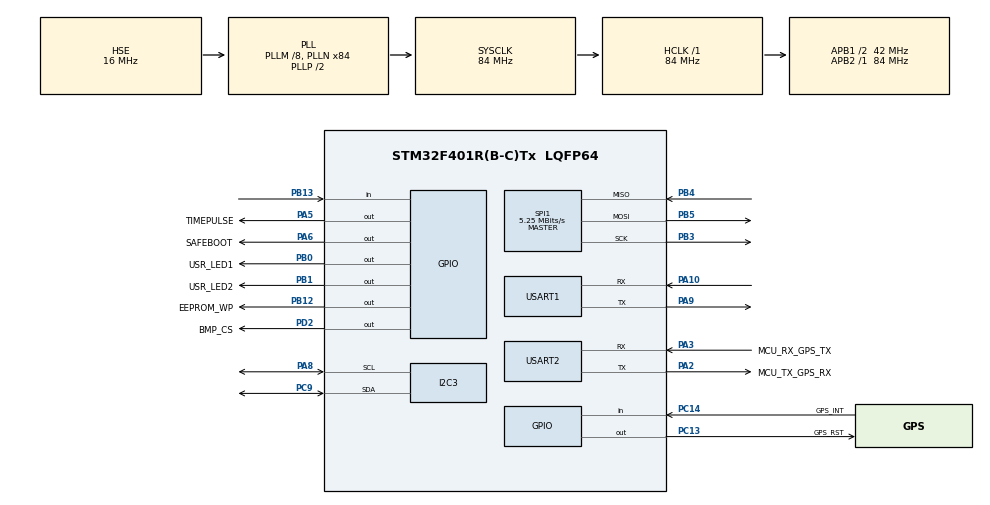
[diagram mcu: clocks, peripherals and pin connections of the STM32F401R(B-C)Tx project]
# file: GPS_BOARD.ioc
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Dma.I2C3_RX.2.Direction=DMA_PERIPH_TO_MEMORY
Dma.I2C3_RX.2.FIFOMode=DMA_FIFOMODE_DISABLE
Dma.I2C3_RX.2.Instance=DMA1_Stream1
Dma.I2C3_RX.2.MemDataAlignment=DMA_MDATAALIGN_BYTE
Dma.I2C3_RX.2.MemInc=DMA_MINC_ENABLE
Dma.I2C3_RX.2.Mode=DMA_NORMAL
Dma.I2C3_RX.2.PeriphDataAlignment=DMA_PDATAALIGN_BYTE
Dma.I2C3_RX.2.PeriphInc=DMA_PINC_DISABLE
Dma.I2C3_RX.2.Priority=DMA_PRIORITY_LOW
Dma.I2C3_TX.3.Direction=DMA_MEMORY_TO_PERIPH
Dma.I2C3_TX.3.FIFOMode=DMA_FIFOMODE_DISABLE
Dma.I2C3_TX.3.Instance=DMA1_Stream4
Dma.I2C3_TX.3.MemDataAlignment=DMA_MDATAALIGN_BYTE
Dma.I2C3_TX.3.MemInc=DMA_MINC_ENABLE
Dma.I2C3_TX.3.Mode=DMA_NORMAL
Dma.I2C3_TX.3.PeriphDataAlignment=DMA_PDATAALIGN_BYTE
Dma.I2C3_TX.3.PeriphInc=DMA_PINC_DISABLE
Dma.I2C3_TX.3.Priority=DMA_PRIORITY_LOW
Dma.MEMTOMEM.7.Direction=DMA_MEMORY_TO_MEMORY
Dma.MEMTOMEM.7.FIFOMode=DMA_FIFOMODE_ENABLE
Dma.MEMTOMEM.7.FIFOThreshold=DMA_FIFO_THRESHOLD_FULL
Dma.MEMTOMEM.7.Instance=DMA2_Stream1
Dma.MEMTOMEM.7.MemBurst=DMA_MBURST_SINGLE
Dma.MEMTOMEM.7.MemDataAlignment=DMA_MDATAALIGN_BYTE
Dma.MEMTOMEM.7.MemInc=DMA_MINC_ENABLE
Dma.MEMTOMEM.7.Mode=DMA_NORMAL
Dma.MEMTOMEM.7.PeriphBurst=DMA_PBURST_SINGLE
Dma.MEMTOMEM.7.PeriphDataAlignment=DMA_PDATAALIGN_BYTE
Dma.MEMTOMEM.7.PeriphInc=DMA_PINC_ENABLE
Dma.MEMTOMEM.7.Priority=DMA_PRIORITY_LOW
Dma.Request0=USART2_RX
Dma.Request1=USART2_TX
Dma.Request2=I2C3_RX
Dma.Request3=I2C3_TX
Dma.Request4=USART1_TX
Dma.Request5=SPI1_RX
Dma.Request6=SPI1_TX
Dma.Request7=MEMTOMEM
Dma.SPI1_RX.5.Direction=DMA_PERIPH_TO_MEMORY
Dma.SPI1_RX.5.FIFOMode=DMA_FIFOMODE_DISABLE
Dma.SPI1_RX.5.Instance=DMA2_Stream0
Dma.SPI1_RX.5.MemDataAlignment=DMA_MDATAALIGN_BYTE
Dma.SPI1_RX.5.MemInc=DMA_MINC_ENABLE
Dma.SPI1_RX.5.Mode=DMA_NORMAL
Dma.SPI1_RX.5.PeriphDataAlignment=DMA_PDATAALIGN_BYTE
Dma.SPI1_RX.5.PeriphInc=DMA_PINC_DISABLE
Dma.SPI1_RX.5.Priority=DMA_PRIORITY_LOW
Dma.SPI1_TX.6.Direction=DMA_MEMORY_TO_PERIPH
Dma.SPI1_TX.6.FIFOMode=DMA_FIFOMODE_DISABLE
Dma.SPI1_TX.6.Instance=DMA2_Stream3
Dma.SPI1_TX.6.MemDataAlignment=DMA_MDATAALIGN_BYTE
Dma.SPI1_TX.6.MemInc=DMA_MINC_ENABLE
Dma.SPI1_TX.6.Mode=DMA_NORMAL
Dma.SPI1_TX.6.PeriphDataAlignment=DMA_PDATAALIGN_BYTE
Dma.SPI1_TX.6.PeriphInc=DMA_PINC_DISABLE
Dma.SPI1_TX.6.Priority=DMA_PRIORITY_LOW
Dma.USART1_TX.4.Direction=DMA_MEMORY_TO_PERIPH
Dma.USART1_TX.4.FIFOMode=DMA_FIFOMODE_DISABLE
Dma.USART1_TX.4.Instance=DMA2_Stream7
Dma.USART1_TX.4.MemDataAlignment=DMA_MDATAALIGN_BYTE
Dma.USART1_TX.4.MemInc=DMA_MINC_ENABLE
Dma.USART1_TX.4.Mode=DMA_NORMAL
Dma.USART1_TX.4.PeriphDataAlignment=DMA_PDATAALIGN_BYTE
Dma.USART1_TX.4.PeriphInc=DMA_PINC_DISABLE
Dma.USART1_TX.4.Priority=DMA_PRIORITY_LOW
Dma.USART2_RX.0.Direction=DMA_PERIPH_TO_MEMORY
Dma.USART2_RX.0.FIFOMode=DMA_FIFOMODE_DISABLE
Dma.USART2_RX.0.Instance=DMA1_Stream5
Dma.USART2_RX.0.MemDataAlignment=DMA_MDATAALIGN_BYTE
Dma.USART2_RX.0.MemInc=DMA_MINC_ENABLE
Dma.USART2_RX.0.Mode=DMA_NORMAL
Dma.USART2_RX.0.PeriphDataAlignment=DMA_PDATAALIGN_BYTE
Dma.USART2_RX.0.PeriphInc=DMA_PINC_DISABLE
Dma.USART2_RX.0.Priority=DMA_PRIORITY_LOW
Dma.USART2_TX.1.Direction=DMA_MEMORY_TO_PERIPH
Dma.USART2_TX.1.FIFOMode=DMA_FIFOMODE_DISABLE
Dma.USART2_TX.1.Instance=DMA1_Stream6
Dma.USART2_TX.1.MemDataAlignment=DMA_MDATAALIGN_BYTE
Dma.USART2_TX.1.MemInc=DMA_MINC_ENABLE
Dma.USART2_TX.1.Mode=DMA_NORMAL
Dma.USART2_TX.1.PeriphDataAlignment=DMA_PDATAALIGN_BYTE
Dma.USART2_TX.1.PeriphInc=DMA_PINC_DISABLE
Dma.USART2_TX.1.Priority=DMA_PRIORITY_LOW
FREERTOS.Tasks01=defaultTask,0,128,StartDefaultTask,Default,NULL,Dynamic,NULL,NULL
I2C3.I2C_Mode=I2C_Fast
Mcu.Family=STM32F4
Mcu.Name=STM32F401R(B-C)Tx
Mcu.Package=LQFP64
NVIC.DMA1_Stream1_IRQn=true\:5\:0\:false\:false\:true\:true\:false\:true\:true
NVIC.DMA1_Stream4_IRQn=true\:5\:0\:false\:false\:true\:true\:false\:true\:true
NVIC.DMA1_Stream5_IRQn=true\:5\:0\:false\:false\:true\:true\:false\:true\:true
NVIC.DMA1_Stream6_IRQn=true\:5\:0\:false\:false\:true\:true\:false\:true\:true
NVIC.DMA2_Stream0_IRQn=true\:5\:0\:false\:false\:true\:true\:false\:true\:true
NVIC.DMA2_Stream3_IRQn=true\:5\:0\:false\:false\:true\:true\:false\:true\:true
NVIC.DMA2_Stream7_IRQn=true\:5\:0\:false\:false\:true\:true\:false\:true\:true
NVIC.PriorityGroup=NVIC_PRIORITYGROUP_4
NVIC.TIM4_IRQn=true\:15\:0\:false\:false\:true\:false\:false\:true\:true
NVIC.TimeBase=TIM4_IRQn
NVIC.TimeBaseIP=TIM4
NVIC.USART1_IRQn=true\:5\:0\:false\:false\:true\:true\:true\:true\:true
PA10.Mode=Asynchronous
PA10.Signal=USART1_RX
PA13.Mode=Serial_Wire
PA13.Signal=SYS_JTMS-SWDIO
PA14.Mode=Serial_Wire
PA14.Signal=SYS_JTCK-SWCLK
PA2.GPIO_Label=MCU_TX_GPS_RX
PA2.Mode=Asynchronous
PA2.Signal=USART2_TX
PA3.GPIO_Label=MCU_RX_GPS_TX
PA3.Mode=Asynchronous
PA3.Signal=USART2_RX
PA5.GPIO_Label=TIMEPULSE
PA5.Signal=GPIO_Output
PA6.GPIO_Label=SAFEBOOT
PA6.Signal=GPIO_Output
PA8.GPIO_Pu=GPIO_PULLUP
PA8.Mode=I2C
PA8.Signal=I2C3_SCL
PA9.Mode=Asynchronous
PA9.Signal=USART1_TX
PB0.GPIO_Label=USR_LED1
PB0.Signal=GPIO_Output
PB1.GPIO_Label=USR_LED2
PB1.Signal=GPIO_Output
PB12.GPIO_Label=EEPROM_WP
PB12.Signal=GPIO_Output
PB13.Signal=GPIO_Input
PB3.Mode=Full_Duplex_Master
PB3.Signal=SPI1_SCK
PB4.Mode=Full_Duplex_Master
PB4.Signal=SPI1_MISO
PB5.Mode=Full_Duplex_Master
PB5.Signal=SPI1_MOSI
PC13-ANTI_TAMP.GPIO_Label=GPS_RST
PC13-ANTI_TAMP.PinState=GPIO_PIN_SET
PC13-ANTI_TAMP.Signal=GPIO_Output
PC14-OSC32_IN.GPIO_Label=GPS_INT
PC14-OSC32_IN.Signal=GPIO_Input
PC9.GPIO_Pu=GPIO_PULLUP
PC9.Mode=I2C
PC9.Signal=I2C3_SDA
PD2.GPIO_Label=BMP_CS
PD2.PinState=GPIO_PIN_SET
PD2.Signal=GPIO_Output
PH0\ -\ OSC_IN.Mode=HSE-External-Oscillator
PH0\ -\ OSC_IN.Signal=RCC_OSC_IN
PH1\ -\ OSC_OUT.Mode=HSE-External-Oscillator
PH1\ -\ OSC_OUT.Signal=RCC_OSC_OUT
ProjectManager.HeapSize=0x200
ProjectManager.StackSize=0x400
ProjectManager.TargetToolchain=Makefile
RCC.48MHZClocksFreq_Value=42000000
RCC.AHBFreq_Value=84000000
RCC.APB1CLKDivider=RCC_HCLK_DIV2
RCC.APB1Freq_Value=42000000
RCC.APB1TimFreq_Value=84000000
RCC.APB2Freq_Value=84000000
RCC.APB2TimFreq_Value=84000000
RCC.CortexFreq_Value=84000000
RCC.HCLKFreq_Value=84000000
RCC.HSE_VALUE=16000000
RCC.HSI_VALUE=16000000
RCC.LSE_VALUE=32768
RCC.PLLM=8
RCC.PLLN=84
RCC.PLLSourceVirtual=RCC_PLLSOURCE_HSE
RCC.SYSCLKFreq_VALUE=84000000
RCC.SYSCLKSource=RCC_SYSCLKSOURCE_PLLCLK
RCC.VCOOutputFreq_Value=168000000
SPI1.BaudRatePrescaler=SPI_BAUDRATEPRESCALER_16
SPI1.CLKPhase=SPI_PHASE_1EDGE
SPI1.CLKPolarity=SPI_POLARITY_LOW
SPI1.CalculateBaudRate=5.25 MBits/s
SPI1.Direction=SPI_DIRECTION_2LINES
SPI1.FirstBit=SPI_FIRSTBIT_MSB
SPI1.Mode=SPI_MODE_MASTER
SPI1.VirtualType=VM_MASTER
USART1.VirtualMode=VM_ASYNC
USART2.VirtualMode=VM_ASYNC
VP_CRC_VS_CRC.Mode=CRC_Activate
VP_FREERTOS_VS_CMSIS_V1.Mode=CMSIS_V1
VP_RTC_VS_RTC_Activate.Mode=RTC_Enabled
VP_RTC_VS_RTC_Calendar.Mode=RTC_Calendar
VP_SYS_VS_tim4.Mode=TIM4
board=custom

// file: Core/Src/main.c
/* USER CODE BEGIN Header */
/**
 ******************************************************************************
 * @file           : main.c
 * @brief          : Main program body
 ******************************************************************************
 * @attention
 *
 * Copyright (c) 2023 STMicroelectronics.
 * All rights reserved.
 *
 * This software is licensed under terms that can be found in the LICENSE file
 * in the root directory of this software component.
 * If no LICENSE file comes with this software, it is provided AS-IS.
 *
 ******************************************************************************
 */
/* USER CODE END Header */
#include "main.h"
#include "cmsis_os.h"

/* USER CODE BEGIN Includes */
#include <stdio.h>
#include <string.h>
#include "bmp280.h"
#include "lis2hd12.h"
#include "eeprom.h"
#include "uart_printf.h"
#include "bmp280_defs.h"
/* USER CODE END Includes */

CRC_HandleTypeDef hcrc;

I2C_HandleTypeDef hi2c3;
DMA_HandleTypeDef hdma_i2c3_rx;
DMA_HandleTypeDef hdma_i2c3_tx;

RTC_HandleTypeDef hrtc;

SPI_HandleTypeDef hspi1;
DMA_HandleTypeDef hdma_spi1_rx;
DMA_HandleTypeDef hdma_spi1_tx;

UART_HandleTypeDef huart1;
UART_HandleTypeDef huart2;
DMA_HandleTypeDef hdma_usart1_tx;
DMA_HandleTypeDef hdma_usart2_rx;
DMA_HandleTypeDef hdma_usart2_tx;

DMA_HandleTypeDef hdma_memtomem_dma2_stream1;
osThreadId defaultTaskHandle;

void SystemClock_Config(void);
static void MX_GPIO_Init(void);
static void MX_DMA_Init(void);
static void MX_USART2_UART_Init(void);
static void MX_SPI1_Init(void);
static void MX_USART1_UART_Init(void);
static void MX_I2C3_Init(void);
static void MX_CRC_Init(void);
static void MX_RTC_Init(void);
void StartDefaultTask(void const *argument);

/* USER CODE BEGIN 0 */
void i2c_scan(void)
{
  uint8_t Buffer[25] = {0};
  uint8_t Space[] = " - ";
  uint8_t StartMSG[] = "Starting I2C Scanning: \r\n";
  uint8_t EndMSG[] = "Done! \r\n\r\n";

  /*-[ I2C Bus Scanning ]-*/
  uint8_t ret;
  HAL_UART_Transmit(&huart1, StartMSG, sizeof(StartMSG), HAL_MAX_DELAY);
  for (uint8_t i = 1; i < 128; i++)
  {
    ret = HAL_I2C_IsDeviceReady(&hi2c3, (uint16_t)(i << 1), 3, 5);
    if (ret != HAL_OK) /* No ACK Received At That Address */
    {
      HAL_UART_Transmit(&huart1, Space, sizeof(Space), HAL_MAX_DELAY);
    }
    else if (ret == HAL_OK)
    {
      sprintf((char *)Buffer, "0x%X", i);
      HAL_UART_Transmit(&huart1, Buffer, sizeof(Buffer), HAL_MAX_DELAY);
    }

    if (i % 16 == 0)
    {
      sprintf((char *)Buffer, "\r\n");
      HAL_UART_Transmit(&huart1, Buffer, sizeof(Buffer), HAL_MAX_DELAY);
    }
  }
  HAL_UART_Transmit(&huart1, EndMSG, sizeof(EndMSG), HAL_MAX_DELAY);
  /*--[ Scanning Done ]--*/
}

void print_lis2hd12_who_am_i(void)
{
  uint8_t id;

  uint8_t ret = lis2hd12_who_am_i(&id);

  if (ret != HAL_OK)
  {
    uart_printf("Error IMU\r\n");
  }
  else
  {
    uart_printf("IMU ID: %#02X\r\n", id);
  }
}

// void read_pressure(void)
// {

//   uint8_t ret;
//   ret = bmp280_read_pressure();

//   if (ret != HAL_OK)
//   {
//     uart_printf("BMP280 Error\r\n");
//     return;
//   }

//   HAL_Delay(100);

//   uint32_t pressure = UINT32_MAX;
//   ret = bmp280_get_temp(&pressure);

//   if (ret != HAL_OK)
//   {
//     uart_printf("Error getting temp");
//   }
//   else
//   {
//     uart_printf("Pressure %lu", pressure);
//   }
// }
/* USER CODE END 0 */

int main(void)
{

  /* MCU Configuration--------------------------------------------------------*/

  /* Reset of all peripherals, Initializes the Flash interface and the Systick. */
  HAL_Init();

  /* Configure the system clock */
  SystemClock_Config();

  /* Initialize all configured peripherals */
  MX_GPIO_Init();
  MX_DMA_Init();
  MX_USART2_UART_Init();
  MX_SPI1_Init();
  MX_USART1_UART_Init();
  MX_I2C3_Init();
  MX_CRC_Init();
  MX_RTC_Init();
  /* USER CODE BEGIN 2 */
  // uart_printf("Beginning\r\n");
  i2c_scan();
  // print_bmp280_id();
  print_lis2hd12_who_am_i();

  // uint8_t data[20] = {0};
  // uint8_t in[20] = {0};

  // for(uint8_t i = 0; i < sizeof(data); i++)
  // {
  //   data[i] = i;
  // }

  // uint8_t ret = eeprom_write(0x00, data, sizeof(data));

  // if(ret != HAL_OK)
  // {
  //   while (1);

  // }

  // eeprom_read(0x00, in, sizeof(data));

  /* USER CODE END 2 */

  /* Create the thread(s) */
  /* definition and creation of defaultTask */
  osThreadDef(defaultTask, StartDefaultTask, osPriorityNormal, 0, 128);
  defaultTaskHandle = osThreadCreate(osThread(defaultTask), NULL);

  /* Start scheduler */
  osKernelStart();
  /* We should never get here as control is now taken by the scheduler */
  /* Infinite loop */
  /* USER CODE BEGIN WHILE */
  while (1)
  {

    HAL_GPIO_TogglePin(USR_LED1_GPIO_Port, USR_LED1_Pin);
    HAL_Delay(500);
    // read_pressure();
    /* USER CODE END WHILE */

  }
}

void SystemClock_Config(void)
{
  RCC_OscInitTypeDef RCC_OscInitStruct = {0};
  RCC_ClkInitTypeDef RCC_ClkInitStruct = {0};

  /** Configure the main internal regulator output voltage
   */
  __HAL_RCC_PWR_CLK_ENABLE();
  __HAL_PWR_VOLTAGESCALING_CONFIG(PWR_REGULATOR_VOLTAGE_SCALE2);

  /** Initializes the RCC Oscillators according to the specified parameters
   * in the RCC_OscInitTypeDef structure.
   */
  RCC_OscInitStruct.OscillatorType = RCC_OSCILLATORTYPE_LSI | RCC_OSCILLATORTYPE_HSE;
  RCC_OscInitStruct.HSEState = RCC_HSE_ON;
  RCC_OscInitStruct.LSIState = RCC_LSI_ON;
  RCC_OscInitStruct.PLL.PLLState = RCC_PLL_ON;
  RCC_OscInitStruct.PLL.PLLSource = RCC_PLLSOURCE_HSE;
  RCC_OscInitStruct.PLL.PLLM = 8;
  RCC_OscInitStruct.PLL.PLLN = 84;
  RCC_OscInitStruct.PLL.PLLP = RCC_PLLP_DIV2;
  RCC_OscInitStruct.PLL.PLLQ = 4;
  if (HAL_RCC_OscConfig(&RCC_OscInitStruct) != HAL_OK)
  {
    Error_Handler();
  }

  /** Initializes the CPU, AHB and APB buses clocks
   */
  RCC_ClkInitStruct.ClockType = RCC_CLOCKTYPE_HCLK | RCC_CLOCKTYPE_SYSCLK | RCC_CLOCKTYPE_PCLK1 | RCC_CLOCKTYPE_PCLK2;
  RCC_ClkInitStruct.SYSCLKSource = RCC_SYSCLKSOURCE_PLLCLK;
  RCC_ClkInitStruct.AHBCLKDivider = RCC_SYSCLK_DIV1;
  RCC_ClkInitStruct.APB1CLKDivider = RCC_HCLK_DIV2;
  RCC_ClkInitStruct.APB2CLKDivider = RCC_HCLK_DIV1;

  if (HAL_RCC_ClockConfig(&RCC_ClkInitStruct, FLASH_LATENCY_2) != HAL_OK)
  {
    Error_Handler();
  }
}

static void MX_CRC_Init(void)
{

  hcrc.Instance = CRC;
  if (HAL_CRC_Init(&hcrc) != HAL_OK)
  {
    Error_Handler();
  }
}

static void MX_I2C3_Init(void)
{

  hi2c3.Instance = I2C3;
  hi2c3.Init.ClockSpeed = 400000;
  hi2c3.Init.DutyCycle = I2C_DUTYCYCLE_2;
  hi2c3.Init.OwnAddress1 = 0;
  hi2c3.Init.AddressingMode = I2C_ADDRESSINGMODE_7BIT;
  hi2c3.Init.DualAddressMode = I2C_DUALADDRESS_DISABLE;
  hi2c3.Init.OwnAddress2 = 0;
  hi2c3.Init.GeneralCallMode = I2C_GENERALCALL_DISABLE;
  hi2c3.Init.NoStretchMode = I2C_NOSTRETCH_DISABLE;
  if (HAL_I2C_Init(&hi2c3) != HAL_OK)
  {
    Error_Handler();
  }
}

static void MX_RTC_Init(void)
{

  RTC_TimeTypeDef sTime = {0};
  RTC_DateTypeDef sDate = {0};

  /** Initialize RTC Only
   */
  hrtc.Instance = RTC;
  hrtc.Init.HourFormat = RTC_HOURFORMAT_24;
  hrtc.Init.AsynchPrediv = 127;
  hrtc.Init.SynchPrediv = 255;
  hrtc.Init.OutPut = RTC_OUTPUT_DISABLE;
  hrtc.Init.OutPutPolarity = RTC_OUTPUT_POLARITY_HIGH;
  hrtc.Init.OutPutType = RTC_OUTPUT_TYPE_OPENDRAIN;
  if (HAL_RTC_Init(&hrtc) != HAL_OK)
  {
    Error_Handler();
  }

  /** Initialize RTC and set the Time and Date
   */
  sTime.Hours = 0x0;
  sTime.Minutes = 0x0;
  sTime.Seconds = 0x0;
  sTime.DayLightSaving = RTC_DAYLIGHTSAVING_NONE;
  sTime.StoreOperation = RTC_STOREOPERATION_RESET;
  if (HAL_RTC_SetTime(&hrtc, &sTime, RTC_FORMAT_BCD) != HAL_OK)
  {
    Error_Handler();
  }
  sDate.WeekDay = RTC_WEEKDAY_MONDAY;
  sDate.Month = RTC_MONTH_JANUARY;
  sDate.Date = 0x1;
  sDate.Year = 0x0;

  if (HAL_RTC_SetDate(&hrtc, &sDate, RTC_FORMAT_BCD) != HAL_OK)
  {
    Error_Handler();
  }
}

static void MX_SPI1_Init(void)
{

  /* SPI1 parameter configuration*/
  hspi1.Instance = SPI1;
  hspi1.Init.Mode = SPI_MODE_MASTER;
  hspi1.Init.Direction = SPI_DIRECTION_2LINES;
  hspi1.Init.DataSize = SPI_DATASIZE_8BIT;
  hspi1.Init.CLKPolarity = SPI_POLARITY_LOW;
  hspi1.Init.CLKPhase = SPI_PHASE_1EDGE;
  hspi1.Init.NSS = SPI_NSS_SOFT;
  hspi1.Init.BaudRatePrescaler = SPI_BAUDRATEPRESCALER_16;
  hspi1.Init.FirstBit = SPI_FIRSTBIT_MSB;
  hspi1.Init.TIMode = SPI_TIMODE_DISABLE;
  hspi1.Init.CRCCalculation = SPI_CRCCALCULATION_DISABLE;
  hspi1.Init.CRCPolynomial = 10;
  if (HAL_SPI_Init(&hspi1) != HAL_OK)
  {
    Error_Handler();
  }
}

static void MX_USART1_UART_Init(void)
{

  huart1.Instance = USART1;
  huart1.Init.BaudRate = 115200;
  huart1.Init.WordLength = UART_WORDLENGTH_8B;
  huart1.Init.StopBits = UART_STOPBITS_1;
  huart1.Init.Parity = UART_PARITY_NONE;
  huart1.Init.Mode = UART_MODE_TX_RX;
  huart1.Init.HwFlowCtl = UART_HWCONTROL_NONE;
  huart1.Init.OverSampling = UART_OVERSAMPLING_16;
  if (HAL_UART_Init(&huart1) != HAL_OK)
  {
    Error_Handler();
  }
}

static void MX_USART2_UART_Init(void)
{

  huart2.Instance = USART2;
  huart2.Init.BaudRate = 115200;
  huart2.Init.WordLength = UART_WORDLENGTH_8B;
  huart2.Init.StopBits = UART_STOPBITS_1;
  huart2.Init.Parity = UART_PARITY_NONE;
  huart2.Init.Mode = UART_MODE_TX_RX;
  huart2.Init.HwFlowCtl = UART_HWCONTROL_NONE;
  huart2.Init.OverSampling = UART_OVERSAMPLING_16;
  if (HAL_UART_Init(&huart2) != HAL_OK)
  {
    Error_Handler();
  }
}

static void MX_DMA_Init(void)
{

  /* DMA controller clock enable */
  __HAL_RCC_DMA1_CLK_ENABLE();
  __HAL_RCC_DMA2_CLK_ENABLE();

  /* Configure DMA request hdma_memtomem_dma2_stream1 on DMA2_Stream1 */
  hdma_memtomem_dma2_stream1.Instance = DMA2_Stream1;
  hdma_memtomem_dma2_stream1.Init.Channel = DMA_CHANNEL_0;
  hdma_memtomem_dma2_stream1.Init.Direction = DMA_MEMORY_TO_MEMORY;
  hdma_memtomem_dma2_stream1.Init.PeriphInc = DMA_PINC_ENABLE;
  hdma_memtomem_dma2_stream1.Init.MemInc = DMA_MINC_ENABLE;
  hdma_memtomem_dma2_stream1.Init.PeriphDataAlignment = DMA_PDATAALIGN_BYTE;
  hdma_memtomem_dma2_stream1.Init.MemDataAlignment = DMA_MDATAALIGN_BYTE;
  hdma_memtomem_dma2_stream1.Init.Mode = DMA_NORMAL;
  hdma_memtomem_dma2_stream1.Init.Priority = DMA_PRIORITY_LOW;
  hdma_memtomem_dma2_stream1.Init.FIFOMode = DMA_FIFOMODE_ENABLE;
  hdma_memtomem_dma2_stream1.Init.FIFOThreshold = DMA_FIFO_THRESHOLD_FULL;
  hdma_memtomem_dma2_stream1.Init.MemBurst = DMA_MBURST_SINGLE;
  hdma_memtomem_dma2_stream1.Init.PeriphBurst = DMA_PBURST_SINGLE;
  if (HAL_DMA_Init(&hdma_memtomem_dma2_stream1) != HAL_OK)
  {
    Error_Handler();
  }

  /* DMA interrupt init */
  /* DMA1_Stream1_IRQn interrupt configuration */
  HAL_NVIC_SetPriority(DMA1_Stream1_IRQn, 5, 0);
  HAL_NVIC_EnableIRQ(DMA1_Stream1_IRQn);
  /* DMA1_Stream4_IRQn interrupt configuration */
  HAL_NVIC_SetPriority(DMA1_Stream4_IRQn, 5, 0);
  HAL_NVIC_EnableIRQ(DMA1_Stream4_IRQn);
  /* DMA1_Stream5_IRQn interrupt configuration */
  HAL_NVIC_SetPriority(DMA1_Stream5_IRQn, 5, 0);
  HAL_NVIC_EnableIRQ(DMA1_Stream5_IRQn);
  /* DMA1_Stream6_IRQn interrupt configuration */
  HAL_NVIC_SetPriority(DMA1_Stream6_IRQn, 5, 0);
  HAL_NVIC_EnableIRQ(DMA1_Stream6_IRQn);
  /* DMA2_Stream0_IRQn interrupt configuration */
  HAL_NVIC_SetPriority(DMA2_Stream0_IRQn, 5, 0);
  HAL_NVIC_EnableIRQ(DMA2_Stream0_IRQn);
  /* DMA2_Stream3_IRQn interrupt configuration */
  HAL_NVIC_SetPriority(DMA2_Stream3_IRQn, 5, 0);
  HAL_NVIC_EnableIRQ(DMA2_Stream3_IRQn);
  /* DMA2_Stream7_IRQn interrupt configuration */
  HAL_NVIC_SetPriority(DMA2_Stream7_IRQn, 5, 0);
  HAL_NVIC_EnableIRQ(DMA2_Stream7_IRQn);
}

static void MX_GPIO_Init(void)
{
  GPIO_InitTypeDef GPIO_InitStruct = {0};

  /* GPIO Ports Clock Enable */
  __HAL_RCC_GPIOC_CLK_ENABLE();
  __HAL_RCC_GPIOH_CLK_ENABLE();
  __HAL_RCC_GPIOA_CLK_ENABLE();
  __HAL_RCC_GPIOB_CLK_ENABLE();
  __HAL_RCC_GPIOD_CLK_ENABLE();

  /*Configure GPIO pin Output Level */
  HAL_GPIO_WritePin(GPS_RST_GPIO_Port, GPS_RST_Pin, GPIO_PIN_SET);

  /*Configure GPIO pin Output Level */
  HAL_GPIO_WritePin(GPIOA, TIMEPULSE_Pin | SAFEBOOT_Pin, GPIO_PIN_RESET);

  /*Configure GPIO pin Output Level */
  HAL_GPIO_WritePin(GPIOB, USR_LED1_Pin | USR_LED2_Pin | EEPROM_WP_Pin, GPIO_PIN_RESET);

  /*Configure GPIO pin Output Level */
  HAL_GPIO_WritePin(BMP_CS_GPIO_Port, BMP_CS_Pin, GPIO_PIN_SET);

  /*Configure GPIO pin : GPS_RST_Pin */
  GPIO_InitStruct.Pin = GPS_RST_Pin;
  GPIO_InitStruct.Mode = GPIO_MODE_OUTPUT_PP;
  GPIO_InitStruct.Pull = GPIO_NOPULL;
  GPIO_InitStruct.Speed = GPIO_SPEED_FREQ_LOW;
  HAL_GPIO_Init(GPS_RST_GPIO_Port, &GPIO_InitStruct);

  /*Configure GPIO pin : GPS_INT_Pin */
  GPIO_InitStruct.Pin = GPS_INT_Pin;
  GPIO_InitStruct.Mode = GPIO_MODE_INPUT;
  GPIO_InitStruct.Pull = GPIO_NOPULL;
  HAL_GPIO_Init(GPS_INT_GPIO_Port, &GPIO_InitStruct);

  /*Configure GPIO pins : TIMEPULSE_Pin SAFEBOOT_Pin */
  GPIO_InitStruct.Pin = TIMEPULSE_Pin | SAFEBOOT_Pin;
  GPIO_InitStruct.Mode = GPIO_MODE_OUTPUT_PP;
  GPIO_InitStruct.Pull = GPIO_NOPULL;
  GPIO_InitStruct.Speed = GPIO_SPEED_FREQ_LOW;
  HAL_GPIO_Init(GPIOA, &GPIO_InitStruct);

  /*Configure GPIO pins : USR_LED1_Pin USR_LED2_Pin EEPROM_WP_Pin */
  GPIO_InitStruct.Pin = USR_LED1_Pin | USR_LED2_Pin | EEPROM_WP_Pin;
  GPIO_InitStruct.Mode = GPIO_MODE_OUTPUT_PP;
  GPIO_InitStruct.Pull = GPIO_NOPULL;
  GPIO_InitStruct.Speed = GPIO_SPEED_FREQ_LOW;
  HAL_GPIO_Init(GPIOB, &GPIO_InitStruct);

  /*Configure GPIO pin : PB13 */
  GPIO_InitStruct.Pin = GPIO_PIN_13;
  GPIO_InitStruct.Mode = GPIO_MODE_INPUT;
  GPIO_InitStruct.Pull = GPIO_NOPULL;
  HAL_GPIO_Init(GPIOB, &GPIO_InitStruct);

  /*Configure GPIO pin : BMP_CS_Pin */
  GPIO_InitStruct.Pin = BMP_CS_Pin;
  GPIO_InitStruct.Mode = GPIO_MODE_OUTPUT_PP;
  GPIO_InitStruct.Pull = GPIO_NOPULL;
  GPIO_InitStruct.Speed = GPIO_SPEED_FREQ_LOW;
  HAL_GPIO_Init(BMP_CS_GPIO_Port, &GPIO_InitStruct);

}

/* USER CODE BEGIN 4 */
static bmp280_com_fptr_t bmp280_write(uint8_t dev_id, uint8_t reg_addr, uint8_t *data, uint16_t len)
{

  uint8_t ret;
  // This may be faster to just combine the two?
  HAL_GPIO_WritePin(BMP_CS_GPIO_Port, BMP_CS_Pin, 0);
  ret = HAL_SPI_Transmit(&hspi1, &reg_addr, 1, HAL_MAX_DELAY);
  ret = HAL_SPI_Transmit(&hspi1, data, len, HAL_MAX_DELAY);
  HAL_GPIO_WritePin(BMP_CS_GPIO_Port, BMP_CS_Pin, 1);

  return (int8_t)ret;
}

static bmp280_com_fptr_t bmp280_read(uint8_t dev_id, uint8_t reg_addr, uint8_t *data, uint16_t len)
{

  HAL_GPIO_WritePin(BMP_CS_GPIO_Port, BMP_CS_Pin, 0);
  HAL_SPI_Transmit(&hspi1, &reg_addr, 1, HAL_MAX_DELAY);
  uint8_t ret = HAL_SPI_Receive(&hspi1, data, len, HAL_MAX_DELAY);
  HAL_GPIO_WritePin(BMP_CS_GPIO_Port, BMP_CS_Pin, 1);
  return (int8_t)ret;
}

/* USER CODE END 4 */

void StartDefaultTask(void const *argument)
{
  /* USER CODE BEGIN 5 */
  /* Infinite loop */
  struct bmp280_config conf;
  struct bmp280_uncomp_data ucomp_data;
  uint32_t pres32, pres64;
  int32_t temp32;

  struct bmp280_dev bmp = {
      .dev_id = 0x00,
      .intf = BMP280_SPI_INTF,
      .read = bmp280_read,
      .write = bmp280_write,
      .delay_ms = HAL_Delay};

  int8_t rslt = bmp280_init(&bmp);
  uart_printf(" bmp280_init status %d\r\n", rslt);

  (void)bmp280_get_config(&conf, &bmp);

  conf.filter = BMP280_FILTER_COEFF_2;
  conf.os_pres = BMP280_OS_4X;
  conf.os_temp = BMP280_OS_4X;
  conf.odr = BMP280_ODR_1000_MS;

  (void)bmp280_set_config(&conf, &bmp);

  (void)bmp280_set_power_mode(BMP280_NORMAL_MODE, &bmp);

  for (;;)
  {

    /* Reading the raw data from sensor */
    (void)bmp280_get_uncomp_data(&ucomp_data, &bmp);

    /* Getting the compensated pressure using 32 bit precision */
    (void)bmp280_get_comp_pres_32bit(&pres32, ucomp_data.uncomp_press, &bmp);

    /* Getting the compensated pressure using 64 bit precision */
    (void)bmp280_get_comp_pres_64bit(&pres64, ucomp_data.uncomp_press, &bmp);

    uart_printf("UP: %ld, P32: %ld, P64: %ld, P64N: %ld\r\n",
                ucomp_data.uncomp_press,
                pres32,
                pres64,
                pres64 / 256);

    // /* Reading the raw data from sensor */
    (void)bmp280_get_uncomp_data(&ucomp_data, &bmp);

    /* Getting the 32 bit compensated temperature */
    (void)bmp280_get_comp_temp_32bit(&temp32, ucomp_data.uncomp_temp, &bmp);

    uart_printf("UT: %ld, T32: %ld\r\n", ucomp_data.uncomp_temp, temp32);

    osDelay(100);
  }
  /* USER CODE END 5 */
}

void HAL_TIM_PeriodElapsedCallback(TIM_HandleTypeDef *htim)
{
  if (htim->Instance == TIM4)
  {
    HAL_IncTick();
  }
}

void Error_Handler(void)
{
  __disable_irq();
  while (1)
  {
  }
}
